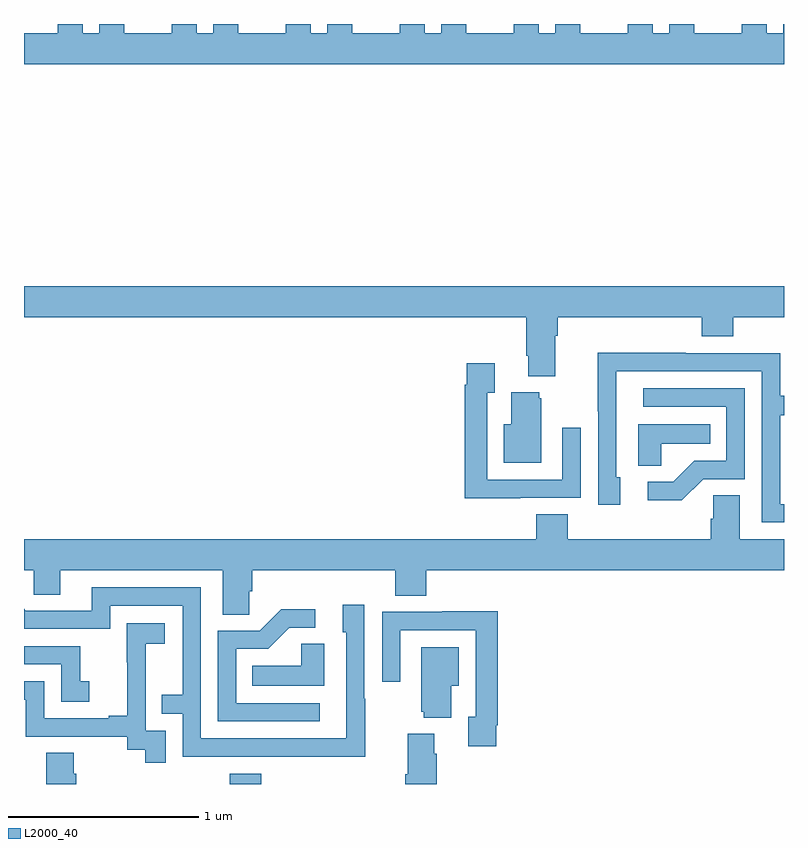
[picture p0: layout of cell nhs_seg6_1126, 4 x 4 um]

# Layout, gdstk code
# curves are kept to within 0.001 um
import gdstk
lib = gdstk.Library(unit=1e-6, precision=1e-09)
def R(c, l, rs):  # rectangles x0, y0, x1, y1
    for r in rs: c.add(gdstk.rectangle(r[:2], r[2:], *l))
def P(c, l, *ps):  # polygons
    for p in ps: c.add(gdstk.Polygon(p, *l))
L2000_40 = (2000, 40)

nhs_seg6_1126 = lib.new_cell('nhs_seg6_1126')
R(nhs_seg6_1126, L2000_40, [(180.083,991.5,180.248,991.555)])
P(nhs_seg6_1126, L2000_40, [(183,995.5),(182.996,995.5),(182.996,995.452),(182.908,995.452),(182.908,995.5),(182.777,995.5),(182.777,995.452),(182.527,995.452),(182.527,995.5),(182.396,995.5),(182.396,995.452),(182.308,995.452),(182.308,995.5),(182.177,995.5),(182.177,995.452),(181.927,995.452),(181.927,995.5),(181.796,995.5),(181.796,995.452),(181.708,995.452),(181.708,995.5),(181.577,995.5),(181.577,995.452),(181.327,995.452),(181.327,995.5),(181.196,995.5),(181.196,995.452),(181.108,995.452),(181.108,995.5),(180.977,995.5),(180.977,995.452),(180.727,995.452),(180.727,995.5),(180.596,995.5),(180.596,995.452),(180.508,995.452),(180.508,995.5),(180.377,995.5),(180.377,995.452),(180.127,995.452),(180.127,995.5),(179.996,995.5),(179.996,995.452),(179.908,995.452),(179.908,995.5),(179.777,995.5),(179.777,995.452),(179.527,995.452),(179.527,995.5),(179.396,995.5),(179.396,995.452),(179.308,995.452),(179.308,995.5),(179.177,995.5),(179.177,995.452),(179,995.452),(179,995.288),(183,995.288)],
  [(181.795,993.86),(181.808,993.86),(181.808,993.956),(182.567,993.956),(182.567,993.857),(182.732,993.857),(182.732,993.956),(183,993.956),(183,994.12),(179,994.12),(179,993.956),(181.643,993.956),(181.643,993.754),(181.655,993.754),(181.655,993.647),(181.795,993.647)],
  [(183,992.973),(182.979,992.973),(182.979,993.442),(183,993.442),(183,993.543),(182.979,993.543),(182.979,993.768),(182.483,993.768),(182.483,993.77),(182.02,993.77),(182.02,993.463),(182.022,993.463),(182.022,992.97),(182.137,992.97),(182.137,993.114),(182.118,993.114),(182.118,993.672),(182.883,993.672),(182.883,992.877),(183,992.877)],
  [(181.613,993.006),(181.929,993.006),(181.929,993.376),(181.833,993.376),(181.833,993.102),(181.437,993.102),(181.437,993.559),(181.477,993.559),(181.477,993.715),(181.329,993.715),(181.329,993.602),(181.321,993.602),(181.321,993.005),(181.613,993.005)],
  [(182.574,993.105),(182.793,993.105),(182.793,993.582),(182.259,993.582),(182.259,993.486),(182.697,993.486),(182.697,993.201),(182.528,993.201),(182.417,993.09),(182.283,993.09),(182.283,992.993),(182.461,992.993)],
  [(181.723,993.531),(181.712,993.531),(181.712,993.562),(181.565,993.562),(181.565,993.394),(181.526,993.394),(181.526,993.191),(181.723,993.191)],
  [(182.355,993.29),(182.612,993.29),(182.612,993.394),(182.234,993.394),(182.234,993.175),(182.355,993.175)],
  [(180.186,992.515),(180.2,992.515),(180.2,992.624),(180.953,992.624),(180.953,992.491),(181.118,992.491),(181.118,992.624),(183,992.624),(183,992.788),(182.767,992.788),(182.767,993.02),(182.628,993.02),(182.628,992.897),(182.615,992.897),(182.615,992.788),(181.862,992.788),(181.862,992.921),(181.697,992.921),(181.697,992.788),(179,992.788),(179,992.624),(179.052,992.624),(179.052,992.497),(179.191,992.497),(179.191,992.624),(180.047,992.624),(180.047,992.392),(180.186,992.392)],
  [(180.795,991.949),(180.792,991.949),(180.792,992.443),(180.677,992.443),(180.677,992.298),(180.696,992.298),(180.696,991.74),(179.931,991.74),(179.931,992.535),(179.357,992.535),(179.357,992.412),(179.01,992.412),(179,992.422),(179,992.316),(179.454,992.316),(179.454,992.439),(179.835,992.439),(179.835,991.97),(179.725,991.97),(179.725,991.869),(179.835,991.869),(179.835,991.644),(180.795,991.643)],
  [(180.556,991.926),(180.117,991.926),(180.117,992.211),(180.286,992.211),(180.397,992.322),(180.532,992.322),(180.532,992.42),(180.353,992.42),(180.24,992.307),(180.021,992.307),(180.021,991.83),(180.556,991.83)],
  [(181.486,991.81),(181.493,991.81),(181.493,992.408),(181.201,992.408),(181.201,992.406),(180.885,992.406),(180.885,992.037),(180.981,992.037),(180.981,992.31),(181.377,992.31),(181.377,991.854),(181.337,991.854),(181.337,991.698),(181.486,991.698)],
  [(179.745,991.779),(179.64,991.779),(179.64,992.009),(179.642,992.009),(179.642,992.237),(179.74,992.237),(179.74,992.347),(179.542,992.347),(179.542,992.141),(179.543,992.141),(179.543,991.858),(179.447,991.858),(179.447,991.845),(179.106,991.845),(179.106,992.04),(179,992.04),(179,991.944),(179.01,991.944),(179.01,991.749),(179.544,991.749),(179.544,991.681),(179.637,991.681),(179.637,991.611),(179.745,991.611)],
  [(180.58,992.237),(180.459,992.237),(180.459,992.122),(180.202,992.122),(180.202,992.018),(180.58,992.018)],
  [(179.344,992.041),(179.295,992.041),(179.295,992.226),(179,992.226),(179,992.13),(179.196,992.13),(179.196,991.932),(179.344,991.932)],
  [(181.249,992.018),(181.288,992.018),(181.288,992.221),(181.091,992.221),(181.091,991.881),(181.103,991.881),(181.103,991.85),(181.249,991.85)],
  [(181.172,991.658),(181.159,991.658),(181.159,991.765),(181.019,991.765),(181.019,991.552),(181.007,991.552),(181.007,991.5),(181.172,991.5)],
  [(179.276,991.554),(179.263,991.554),(179.263,991.664),(179.116,991.664),(179.116,991.5),(179.276,991.5)])

lib.write_gds('nhs_seg6_1126.gds')
